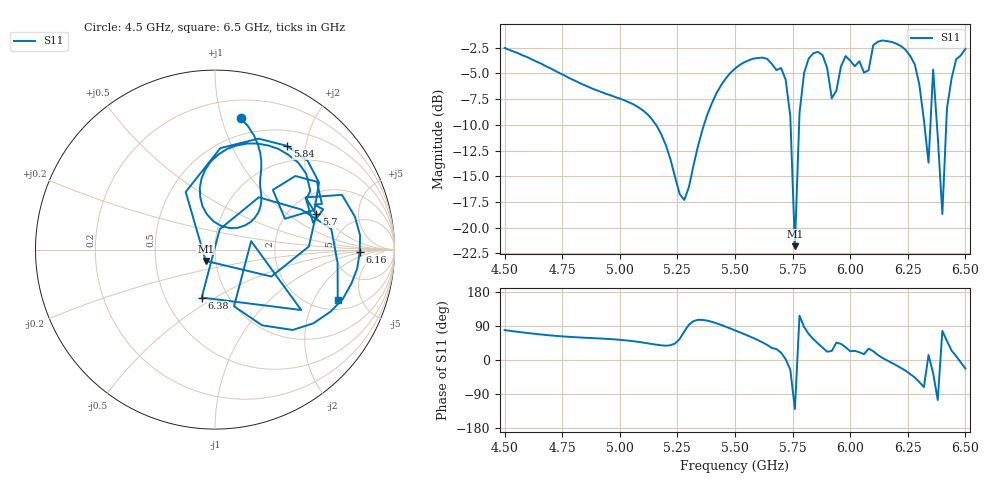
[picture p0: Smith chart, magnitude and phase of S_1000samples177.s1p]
! TOUCHSTONE file generated by CST MICROWAVE STUDIO
! Date and time: Thu Oct 27 06:35:16 2022
! Project name: L.cst
! Parameters = {Di=1.27; Epsilon_r=1.56; InnerDiameter=1.27; Length=2; Lf=10; Lg=60; OuterConductorThickness=0.2921; OuterDiameter=3.6; Wf=3; Wp=41.2; de=1.5; df=6.8; g=0.8; gx=2.01053; gy=3.49835; h=2.34; hf=1.524; px=14.4757; py=14.6953; w=9.7; wx=12.4652; wy=11.197}
! Header version: 2018
! Port assignment regex: !\s*Touchstone port\s*([0-9]+)\s*=\s*(CST MWS port|CST DS port)\s*([0-9]+|Zmin|Zmax)\s*\(\"(.*)\"\)(\s*mode\s*([0-9]+))?.*
! Touchstone port assignment:
! Touchstone port 1 = CST MWS port 1 ("")
# GHz S DB R 50
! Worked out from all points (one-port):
!   101 points, 4.5 GHz to 6.5 GHz, reference 50 ohm
!   lowest |S11| = -21.8 dB at 5.76 GHz (marker M1), VSWR 1.18, Z = 44.7 - j5.65 ohm
!   |S11| at or under -10 dB: 5.157 GHz to 5.365 GHz (208.5 MHz wide, 3.96 % of centre); 5.741 GHz to 5.778 GHz (36.92 MHz wide, 0.641 % of centre); 6.376 GHz to 6.417 GHz (40.38 MHz wide, 0.631 % of centre)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
!   S11 on the Smith chart (normalised r, x): 4.5 GHz: 0.35, +1.16; 5.7 GHz: 2.81, +1.72; 5.84 GHz: 0.73, +1.67; 6.16 GHz: 9.27, -0.70; 6.38 GHz: 0.75, -0.44; 6.5 GHz: 2.53, -3.14
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4.5  -2.53 78.8
4.76  -5.21 62.0
5  -7.45 53.3
5.26  -16.74 55.5
5.38  -9.00 103.8
5.5  -4.55 78.2
5.7  -4.48 19.3
5.74  -9.16 -25.5
5.76  -21.79 -129.5
5.78  -8.87 116.9
5.8  -4.94 87.0
5.84  -3.05 55.2
5.88  -3.23 32.8
5.92  -7.41 23.8
5.96  -4.34 42.5
6  -3.77 23.1
6.08  -4.70 30.0
6.1  -2.27 23.3
6.16  -1.87 -0.9
6.26  -3.30 -37.0
6.32  -9.54 -71.4
6.34  -13.69 13.2
6.36  -4.64 -35.0
6.38  -11.14 -105.5
6.4  -18.66 76.9
6.42  -8.40 50.0
6.46  -3.63 10.1
6.5  -2.62 -22.4
